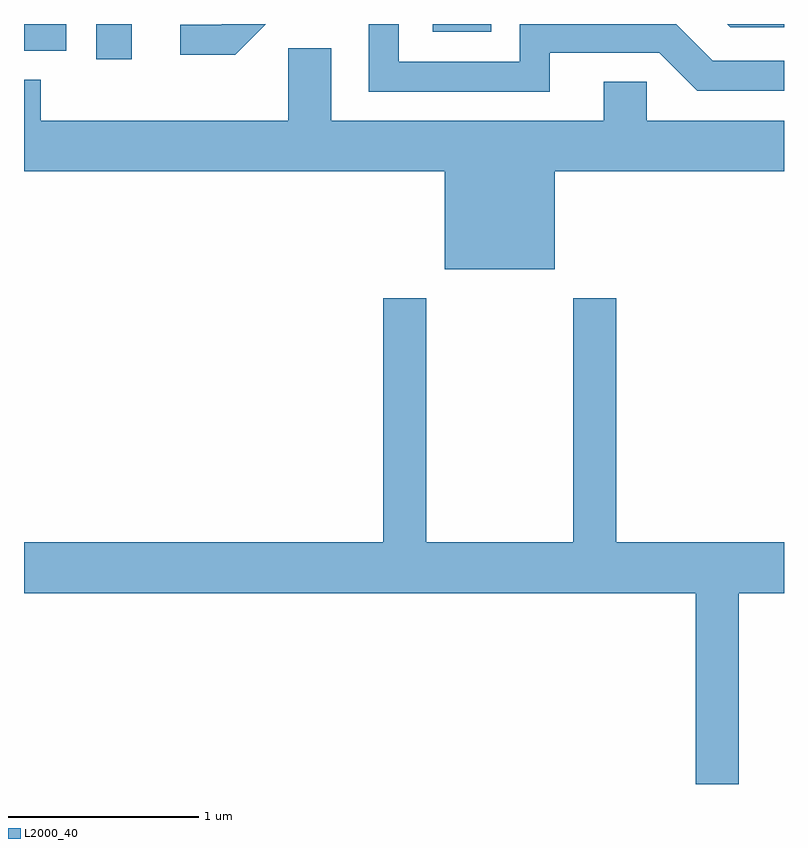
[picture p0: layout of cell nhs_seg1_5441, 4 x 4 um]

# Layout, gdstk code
import gdstk
lib = gdstk.Library(unit=1e-6, precision=1e-09)
def R(c, l, rs):  # rectangles x0, y0, x1, y1
    for r in rs: c.add(gdstk.rectangle(r[:2], r[2:], *l))
def P(c, l, *ps):  # polygons
    for p in ps: c.add(gdstk.Polygon(p, *l))
L2000_40 = (2000, 40)

nhs_seg1_5441 = lib.new_cell('nhs_seg1_5441')
R(nhs_seg1_5441, L2000_40, [(349.991,873.526,350.179,873.712), (349.611,873.571,349.834,873.712), (351.761,873.671,352.069,873.712)])
P(nhs_seg1_5441, L2000_40, [(352.379,873.561),(352.954,873.561),(353.154,873.361),(353.611,873.361),(353.611,873.519),(353.237,873.519),(353.044,873.712),(352.221,873.712),(352.221,873.514),(351.584,873.514),(351.584,873.712),(351.426,873.712),(351.426,873.356),(352.379,873.356)],
  [(353.611,873.712),(353.313,873.712),(353.329,873.696),(353.611,873.696)],
  [(350.883,873.712),(350.652,873.712),(350.649,873.709),(350.433,873.709),(350.433,873.551),(350.722,873.551)],
  [(352.404,872.936),(353.611,872.936),(353.611,873.204),(352.889,873.204),(352.889,873.409),(352.661,873.409),(352.661,873.204),(351.229,873.204),(351.229,873.584),(351.001,873.584),(351.001,873.204),(349.699,873.204),(349.699,873.419),(349.611,873.419),(349.611,872.936),(351.826,872.936),(351.826,872.421),(352.404,872.421)],
  [(353.374,870.716),(353.611,870.716),(353.611,870.984),(352.729,870.984),(352.729,872.269),(352.501,872.269),(352.501,870.984),(351.729,870.984),(351.729,872.269),(351.501,872.269),(351.501,870.984),(349.611,870.984),(349.611,870.716),(353.146,870.716),(353.146,869.712),(353.374,869.712)])

lib.write_gds('nhs_seg1_5441.gds')
